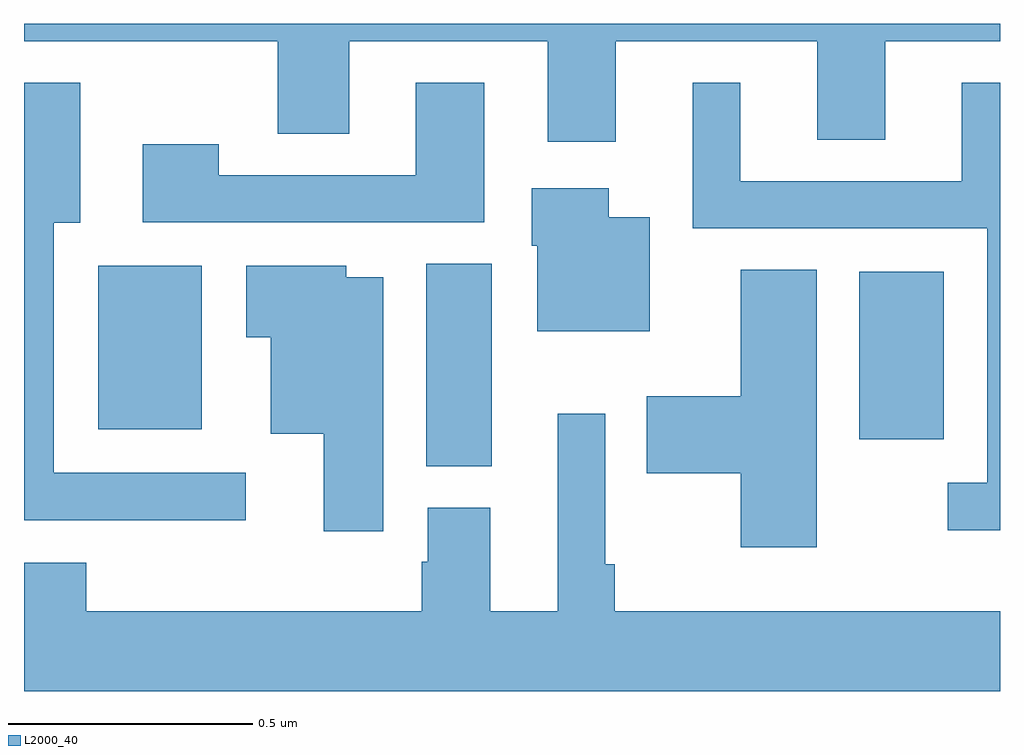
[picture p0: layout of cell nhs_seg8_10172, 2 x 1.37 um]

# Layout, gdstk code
import gdstk
lib = gdstk.Library(unit=1e-6, precision=1e-09)
def R(c, l, rs):  # rectangles x0, y0, x1, y1
    for r in rs: c.add(gdstk.rectangle(r[:2], r[2:], *l))
def P(c, l, *ps):  # polygons
    for p in ps: c.add(gdstk.Polygon(p, *l))
L2000_40 = (2000, 40)

nhs_seg8_10172 = lib.new_cell('nhs_seg8_10172')
R(nhs_seg8_10172, L2000_40, [(246.824,1084.993,246.958,1085.408), (247.712,1085.048,247.885,1085.392), (246.152,1085.069,246.364,1085.404)])
P(nhs_seg8_10172, L2000_40, [(247.213,1085.864),(247.625,1085.864),(247.625,1085.662),(247.765,1085.662),(247.765,1085.864),(248,1085.864),(248,1085.9),(246,1085.9),(246,1085.864),(246.52,1085.864),(246.52,1085.674),(246.667,1085.674),(246.667,1085.864),(247.073,1085.864),(247.073,1085.658),(247.213,1085.658)],
  [(248,1085.779),(247.922,1085.779),(247.922,1085.577),(247.468,1085.577),(247.468,1085.779),(247.37,1085.779),(247.37,1085.481),(247.974,1085.481),(247.974,1084.959),(247.893,1084.959),(247.893,1084.862),(248,1084.862)],
  [(246.943,1085.779),(246.803,1085.779),(246.803,1085.589),(246.399,1085.589),(246.399,1085.653),(246.243,1085.653),(246.243,1085.493),(246.943,1085.493)],
  [(246.454,1084.98),(246.061,1084.98),(246.061,1085.492),(246.115,1085.492),(246.115,1085.779),(246,1085.779),(246,1084.883),(246.454,1084.883)],
  [(247.282,1085.503),(247.198,1085.503),(247.198,1085.563),(247.04,1085.563),(247.04,1085.445),(247.052,1085.445),(247.052,1085.27),(247.282,1085.27)],
  [(246.736,1085.38),(246.66,1085.38),(246.66,1085.404),(246.455,1085.404),(246.455,1085.258),(246.506,1085.258),(246.506,1085.06),(246.614,1085.06),(246.614,1084.86),(246.736,1084.86)],
  [(247.624,1085.396),(247.469,1085.396),(247.469,1085.137),(247.276,1085.137),(247.276,1084.979),(247.469,1084.979),(247.469,1084.827),(247.624,1084.827)],
  [(248,1084.696),(247.211,1084.696),(247.211,1084.792),(247.191,1084.792),(247.191,1085.101),(247.094,1085.101),(247.094,1084.696),(246.955,1084.696),(246.955,1084.908),(246.827,1084.908),(246.827,1084.797),(246.815,1084.797),(246.815,1084.696),(246.128,1084.696),(246.128,1084.795),(246,1084.795),(246,1084.532),(248,1084.532)])

lib.write_gds('nhs_seg8_10172.gds')
